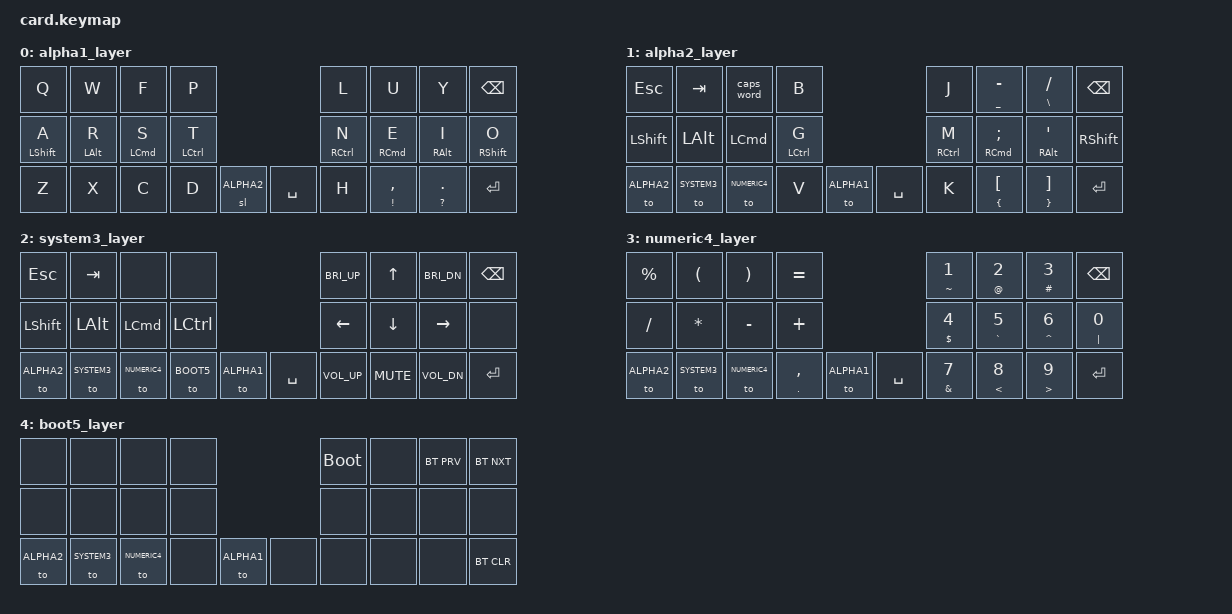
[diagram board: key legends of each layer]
#include <behaviors.dtsi>
#include <dt-bindings/zmk/keys.h>
#include <dt-bindings/zmk/bt.h>

#define ALPHA1   0
#define ALPHA2   1
#define SYSTEM3  2
#define NUMERIC4 3
#define BOOT5    4

&caps_word {
    continue-list = <ENTER SPACE COMMA DOT SQT DQT MINUS QMARK EXCL SEMI COLON LPAR RPAR PRCNT FSLH UNDER AT AMPS DLLR PIPE LT GT>;
};

/ {
    behaviors {
        bhm: balanced_homerow_mods {
            compatible = "zmk,behavior-hold-tap";
            #binding-cells = <2>;
            tapping-term-ms = <200>;    // <---[[moderate duration]]
            quick-tap-ms = <0>;
            flavor = "balanced";
            bindings = <&kp>, <&kp>;
        };
        ht_bl: hold_tap_balanced {
            compatible = "zmk,behavior-hold-tap";
            #binding-cells = <2>;
            tapping-term-ms = <200>;    // <---[[moderate duration]]
            quick-tap-ms = <0>;
            flavor = "balanced";
            bindings = <&kp>, <&kp>;
        };
    };

    keymap {
        compatible = "zmk,keymap";

        alpha1_layer {
// ---------------------------------------------------------------------------------------------------
// |    Q    |    W    |    F    |    P    |                 |    L    |    U    |    Y    |  bk.sp  |
// | A shft  | R optn  |  S cmd  | T cntrl |                 | N cntrl |  E cmd  | I optn  | O shft  |
// |    Z    |    X    |    C    |    D    |  A2   | |  ._.  |    H    |   , !   |   . ?   |   entr  |
// ---------------------------------------------------------------------------------------------------
            bindings = <
    &kp Q         &kp W        &kp F        &kp P                                  &kp L         &kp U              &kp Y             &kp BSPC
    &bhm LSHFT A  &bhm LALT R  &bhm LCMD S  &bhm LCTRL T                           &bhm RCTRL N  &bhm RCMD E        &bhm RALT I       &bhm RSHFT O
    &kp Z         &kp X        &kp C        &kp D         &sl ALPHA2    &kp SPACE  &kp H         &ht_bl EXCL COMMA  &ht_bl QMARK DOT  &kp ENTER
            >;
        };

        alpha2_layer {
// ---------------------------------------------------------------------------------------------------
// |   esc   |   tab   | cap_lck |    b    |                 |    J    |   - _   |   / \   |  bk.sp  |
// |  shft   |  optn   |   cmd   | G cntrl |                 | M cntrl | ; : cmd |' " optn |   shft  |
// |    A2   |    S3   |    N4   |    V    |   A1  | |  ._.  |    K    |   [ {   |   } ]   |   entr  |
// ---------------------------------------------------------------------------------------------------
            bindings = <
    &kp ESC     &kp TAB      &caps_word    &kp B                                  &kp J         &ht_bl UNDER MINUS  &ht_bl BSLH FSLH  &kp BSPC
    &kp LSHFT   &kp LALT     &kp LCMD      &bhm LCTRL G                           &bhm RCTRL M  &bhm RCMD SEMI      &bhm RALT APOS    &kp RSHFT
    &to ALPHA2  &to SYSTEM3  &to NUMERIC4  &kp V         &to ALPHA1    &kp SPACE  &kp K         &ht_bl LBRC LBKT    &ht_bl RBRC RBKT  &kp ENTER
            >;
        };

        system3_layer {
// ---------------------------------------------------------------------------------------------------
// |   esc   |   tab   |         |         |                 |  br.up  |  up     |  br.dn  |  bk.sp  |
// |  shft   |  optn   |   cmd   |  cntrl  |                 |   left  |  down   |  right  |         |
// |    A2   |    S3   |    N4   |   B5    |   A1  | |  ._.  | vol.up  |  vol.mt |  vol.dn |   entr  |
// ---------------------------------------------------------------------------------------------------
            bindings = <
    &kp ESC     &kp TAB      &none         &none                               &kp C_BRI_UP  &kp UP      &kp C_BRI_DN  &kp BSPC
    &kp LSHFT   &kp LALT     &kp LCMD      &kp LCTRL                           &kp LEFT      &kp DOWN    &kp RIGHT     &none
    &to ALPHA2  &to SYSTEM3  &to NUMERIC4  &to BOOT5  &to ALPHA1    &kp SPACE  &kp C_VOL_UP  &kp C_MUTE  &kp C_VOL_DN  &kp ENTER
            >;
        };

        numeric4_layer {
// ---------------------------------------------------------------------------------------------------
// |    %    |    (    |    )    |    =    |                 |   1 ~   |   2 @   |   3 #   |  bk.sp  |
// |    /    |    *    |    -    |    +    |                 |   4 $   |   5 `   |   6 ^   |   0 |   |
// |    A2   |    S3   |    N4   |   , .   |   A1  | |  ._.  |   7 &   |   8 <   |   9 >   |   entr  |
// ---------------------------------------------------------------------------------------------------
            bindings = <
    &kp PRCNT   &kp LPAR     &kp RPAR      &kp EQUAL                                  &ht_bl TILDE N1  &ht_bl AT N2     &ht_bl HASH N3   &kp BSPC
    &kp FSLH    &kp STAR     &kp MINUS     &kp PLUS                                   &ht_bl DLLR N4   &ht_bl GRAVE N5  &ht_bl CARET N6  &ht_bl PIPE N0
    &to ALPHA2  &to SYSTEM3  &to NUMERIC4  &ht_bl DOT COMMA  &to ALPHA1    &kp SPACE  &ht_bl AMPS N7   &ht_bl LT N8     &ht_bl GT N9     &kp ENTER
            >;
        };

        boot5_layer {
// ---------------------------------------------------------------------------------------------------
// |         |         |         |         |                 |   boot  |         |  bt.prv |  bt.nxt |
// |         |         |         |         |                 |         |         |         |         |
// |    A2   |    S3   |    N4   |         |   A1  | |       |         |         |         |  bt.clr |
// ---------------------------------------------------------------------------------------------------
            bindings = <
    &none       &none        &none         &none                       &bootloader  &none  &bt BT_PRV  &bt BT_NXT
    &none       &none        &none         &none                       &none        &none  &none       &none
    &to ALPHA2  &to SYSTEM3  &to NUMERIC4  &none  &to ALPHA1    &none  &none        &none  &none       &bt BT_CLR
            >;
        };
    };
};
